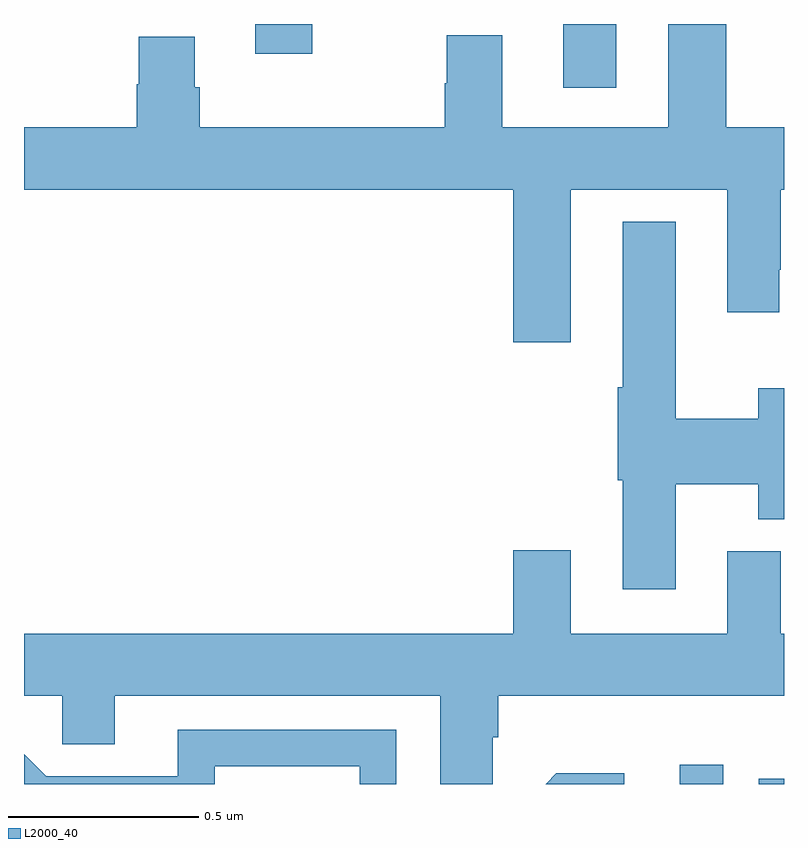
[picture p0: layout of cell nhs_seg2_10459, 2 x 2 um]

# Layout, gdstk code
import gdstk
lib = gdstk.Library(unit=1e-6, precision=1e-09)
def R(c, l, rs):  # rectangles x0, y0, x1, y1
    for r in rs: c.add(gdstk.rectangle(r[:2], r[2:], *l))
def P(c, l, *ps):  # polygons
    for p in ps: c.add(gdstk.Polygon(p, *l))
L2000_40 = (2000, 40)

nhs_seg2_10459 = lib.new_cell('nhs_seg2_10459')
R(nhs_seg2_10459, L2000_40, [(243.725,584.8,243.84,584.851), (243.933,584.8,244,584.814), (243.419,586.632,243.559,586.8), (242.609,586.722,242.758,586.8)])
P(nhs_seg2_10459, L2000_40, [(243.439,586.364),(243.851,586.364),(243.851,586.041),(243.988,586.041),(243.988,586.153),(243.991,586.153),(243.991,586.364),(244,586.364),(244,586.528),(243.848,586.528),(243.848,586.8),(243.695,586.8),(243.695,586.528),(243.259,586.528),(243.259,586.771),(243.112,586.771),(243.112,586.644),(243.107,586.644),(243.107,586.528),(242.462,586.528),(242.462,586.634),(242.449,586.634),(242.449,586.766),(242.302,586.766),(242.302,586.641),(242.297,586.641),(242.297,586.528),(242,586.528),(242,586.364),(243.287,586.364),(243.287,585.963),(243.439,585.963)],
  [(243.715,585.589),(243.932,585.589),(243.932,585.497),(244,585.497),(244,585.841),(243.932,585.841),(243.932,585.761),(243.715,585.761),(243.715,586.279),(243.575,586.279),(243.575,585.844),(243.563,585.844),(243.563,585.6),(243.575,585.6),(243.575,585.312),(243.715,585.312)],
  [(243.234,584.923),(243.248,584.923),(243.248,585.032),(244,585.032),(244,585.196),(243.991,585.196),(243.991,585.412),(243.851,585.412),(243.851,585.196),(243.439,585.196),(243.439,585.415),(243.287,585.415),(243.287,585.196),(242,585.196),(242,585.032),(242.1,585.032),(242.1,584.905),(242.239,584.905),(242.239,585.032),(243.095,585.032),(243.095,584.8),(243.234,584.8)],
  [(242.502,584.847),(242.883,584.847),(242.883,584.8),(242.979,584.8),(242.979,584.943),(242.405,584.943),(242.405,584.82),(242.058,584.82),(242,584.878),(242,584.8),(242.502,584.8)],
  [(243.58,584.828),(243.401,584.828),(243.373,584.8),(243.58,584.8)])

lib.write_gds('nhs_seg2_10459.gds')
